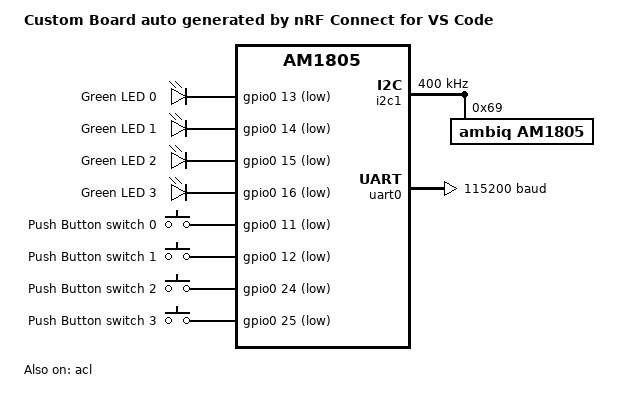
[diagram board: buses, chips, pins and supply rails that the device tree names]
/dts-v1/;
#include <nordic/nrf52840_qiaa.dtsi>
#include "nrf52840_am1805-pinctrl.dtsi"

/ {
	model = "Custom Board auto generated by nRF Connect for VS Code";
	compatible = "acd,nrf52840-am1805";


	chosen {
		zephyr,sram = &sram0;
		zephyr,flash = &flash0;
		zephyr,code-partition = &slot0_partition;
		zephyr,console =  &uart0 ;
		zephyr,shell-uart =  &uart0 ;
		zephyr,uart-mcumgr = &uart0;
	};

	leds {
		compatible = "gpio-leds";
		led0: led_0 {
			label = "Green LED 0";
			gpios = <&gpio0 13 GPIO_ACTIVE_LOW>;
		};
		led1: led_1 {
			label = "Green LED 1";
			gpios = <&gpio0 14 GPIO_ACTIVE_LOW>;
		};
		led2: led_2 {
			label = "Green LED 2";
			gpios = <&gpio0 15 GPIO_ACTIVE_LOW>;
		};
		led3: led_3 {
			label = "Green LED 3";
			gpios = <&gpio0 16 GPIO_ACTIVE_LOW>;
		};
	};



	buttons {
		compatible = "gpio-keys";
		button0: button_0 {
			gpios = <&gpio0 11 (GPIO_ACTIVE_LOW | GPIO_PULL_UP)>;
			label = "Push Button switch 0";
		};
		button1: button_1 {
			gpios = <&gpio0 12 (GPIO_ACTIVE_LOW | GPIO_PULL_UP)>;
			label = "Push Button switch 1";
		};
		button2: button_2 {
			gpios = <&gpio0 24 (GPIO_ACTIVE_LOW | GPIO_PULL_UP)>;
			label = "Push Button switch 2";
		};
		button3: button_3 {
			gpios = <&gpio0 25 (GPIO_ACTIVE_LOW | GPIO_PULL_UP)>;
			label = "Push Button switch 3";
		};
	};

	/* These aliases are provided for compatibility with samples */
	aliases {
		i2c1 = &i2c1;
		uart0 = &uart0;
		gpio0 = &gpio0;
		gpio1 = &gpio1;


		led0 = &led0;
		led1 = &led1;
		led2 = &led2;
		led3 = &led3;
		sw0 = &button0;
		sw1 = &button1;
		sw2 = &button2;
		sw3 = &button3;
		bootloader-led0 = &led0;
		mcuboot-button0 = &button0;
		mcuboot-led0 = &led0;
		watchdog0 = &wdt0;
	};
};

&gpio0 {
	status = "okay";
};

&gpio1 {
	status = "okay";
};

// enable this to use gpio
&gpiote {
	status = "okay";
};

&i2c1 {
	status = "okay";
	compatible = "nordic,nrf-twim";
	// #address-cells = <1>;
	// #size-cells = <0>;
	pinctrl-0 = <&i2c1_default>;
	pinctrl-1 = <&i2c1_sleep>;
	pinctrl-names = "default", "sleep";
	clock-frequency = <I2C_BITRATE_FAST>;
	am1805: am1805@69 {
		compatible = "ambiq,am1805";
		label = "AM1805";
		reg = <0x69>;
	};
};


&uart0 {
	status = "okay";
	current-speed = <115200>;
	pinctrl-0 = <&uart0_default>;
	pinctrl-1 = <&uart0_sleep>;
	pinctrl-names = "default", "sleep";
};


&power {
	status = "okay";
};

&acl {
	status = "okay";
};


&flash0 {
	partitions {
		compatible = "fixed-partitions";
		#address-cells = <1>;
		#size-cells = <1>;

		boot_partition: partition@0 {
			label = "mcuboot";
			reg = <0x0 0xc000>;
		};
		slot0_partition: partition@c000 {
			label = "image-0";
			reg = <0xc000 0x72000>;
		};
		slot1_partition: partition@7e000 {
			label = "image-1";
			reg = <0x7e000 0x72000>;
		};
		scratch_partition: partition@f0000 {
			label = "image-scratch";
			reg = <0xf0000 0xa000>;
		};
		storage_partition: partition@fa000 {
			label = "storage";
			reg = <0xfa000 0x6000>;
		};
	};
};
